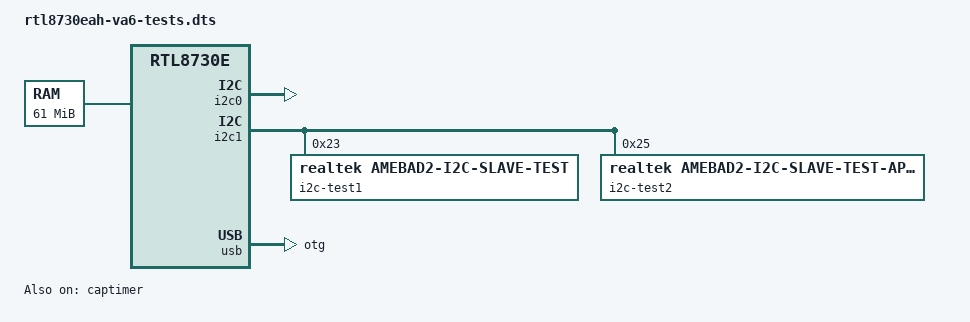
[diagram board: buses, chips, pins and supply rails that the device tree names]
// SPDX-License-Identifier: GPL-2.0-only
/*
* Realtek DTS for test
*
* Copyright (C) 2023, Realtek Corporation. All rights reserved.
*/

/dts-v1/;

#include "rtl8730e.dtsi"
#include "rtl8730e-spi-nor.dtsi"

/ {
	memory {
		device_type = "memory";
		// DRAM base address should be 1MB-aligned.
		reg = <0x60300000 0x3D00000>;  // 64MB -- exclude 3MB secure memory
	};
};

// Configure peripherals, avoid pinmux conflicts.

&captimer {
	status = "okay";
};

&codec{
	pinctrl-names = "default";
	pinctrl-0 = <&audio_ext_amp_pins>;
	ext_amp_gpio = <&gpiob 31 0>;
};

&i2c0{
	pinctrl-names = "default";
	pinctrl-0 = <&i2c0_pins>;
	rtk,i2c-reg-slave-num = <0>; // I2C master
	status = "okay";
};

&i2c1{
	pinctrl-names = "default";
	pinctrl-0 = <&i2c1_pins>;
    #address-cells = <1>; // For i2c bus address
    #size-cells = <0>; // Only reg address is needed
	rtk,i2c-reg-slave-num = <2>; // I2C slaves
	status = "okay";
    i2c-test1 {
        compatible = "realtek,amebad2-i2c-slave-test";
        reg = <0x23>;
    };
    i2c-test2 {
        compatible = "realtek,amebad2-i2c-slave-test-append";
        reg = <0x25>;
    };
};

&i2c2{
	pinctrl-names = "default";
	pinctrl-0 = <&i2c2_pins>;
	status = "disabled";
};

&loguart{
	wakeup-source;
};

&rtc{
	wakeup-source;
};

&spi0{
	pinctrl-names = "default";
	pinctrl-0 = <&spi0_pins>;
	rtk,spi-slave-mode = <0>; // SPI master
	status = "disabled";
};

&spi1{
	pinctrl-names = "default";
	pinctrl-0 = <&spi1_pins>;
	rtk,spi-slave-mode = <1>; // SPI slave
	status = "disabled";
};

&ir{
	pinctrl-names = "default";
	pinctrl-0 = <&ir_pins>;
	status = "disabled";
};

&sport2 {
	//pinctrl-names = "default";
	//pinctrl-0 = <&i2s2_pins>;
	rtk,sport-multi-io = <1>;
	rtk,sport-mode = <1>;
	rtk,sport-mclk-multiplier = <256>;
};

&sport3 {
	//pinctrl-names = "default";
	//pinctrl-0 = <&i2s3_pins>;
	rtk,sport-multi-io = <1>;
	rtk,sport-mode = <0>;
	rtk,sport-mclk-multiplier = <0>;
};

&timer1{
	wakeup-source;
};

&timer2{
	wakeup-source;
};

&timer3{
	wakeup-source;
};

&timer4{
	wakeup-source;
};

&timer5{
	wakeup-source;
};

&usb {
	dr_mode = "otg"; // "host", "peripheral", "otg"
};
